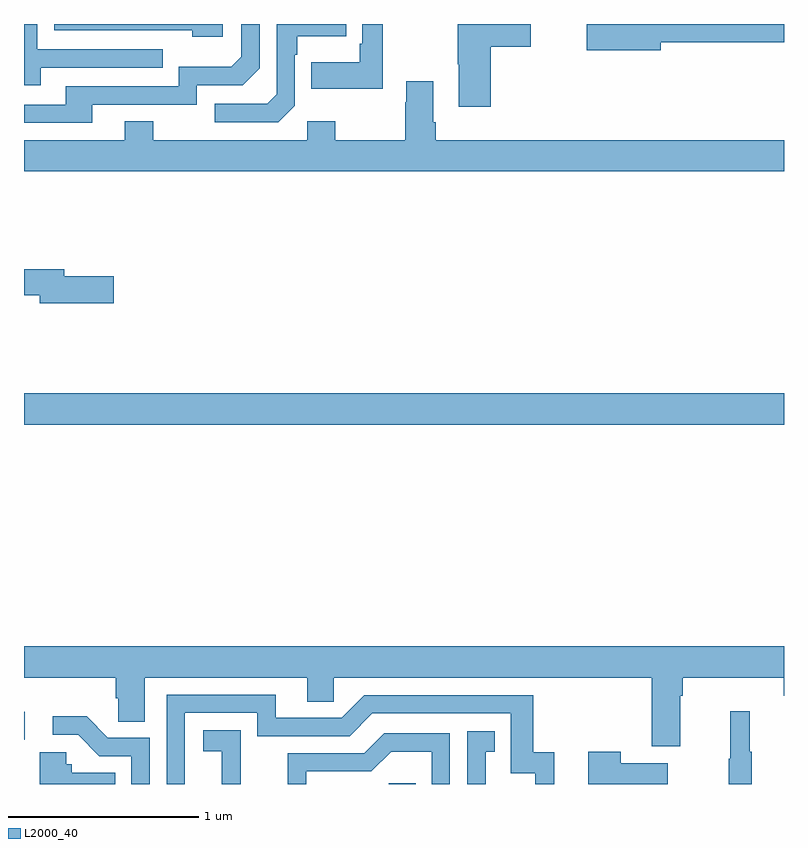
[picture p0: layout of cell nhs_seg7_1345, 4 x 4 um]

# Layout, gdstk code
import gdstk
lib = gdstk.Library(unit=1e-6, precision=1e-09)
def R(c, l, rs):  # rectangles x0, y0, x1, y1
    for r in rs: c.add(gdstk.rectangle(r[:2], r[2:], *l))
def P(c, l, *ps):  # polygons
    for p in ps: c.add(gdstk.Polygon(p, *l))
L2000_40 = (2000, 40)

nhs_seg7_1345 = lib.new_cell('nhs_seg7_1345')
R(nhs_seg7_1345, L2000_40, [(204.921,1056,205.061,1056.003), (203,1056.234,203.005,1056.379), (203,1057.892,207,1058.056)])
P(nhs_seg7_1345, L2000_40, [(206.35,1059.904),(207,1059.904),(207,1060),(205.962,1060),(205.962,1059.862),(206.35,1059.862)],
  [(204.046,1060),(203.16,1060),(203.16,1059.966),(203.885,1059.966),(203.885,1059.932),(204.046,1059.932)],
  [(204.426,1059.57),(204.426,1059.839),(204.439,1059.839),(204.439,1059.935),(204.695,1059.935),(204.695,1060),(204.33,1060),(204.33,1059.63),(204.279,1059.579),(204.003,1059.579),(204.003,1059.483),(204.339,1059.483)],
  [(203.359,1059.576),(203.91,1059.576),(203.91,1059.678),(204.15,1059.678),(204.24,1059.768),(204.24,1060),(204.144,1060),(204.144,1059.828),(204.091,1059.775),(203.814,1059.775),(203.814,1059.672),(203.219,1059.672),(203.219,1059.576),(203,1059.576),(203,1059.48),(203.359,1059.48)],
  [(205.457,1059.881),(205.666,1059.881),(205.666,1060),(205.282,1060),(205.282,1059.787),(205.289,1059.787),(205.289,1059.564),(205.457,1059.564)],
  [(204.889,1060),(204.78,1060),(204.78,1059.895),(204.768,1059.895),(204.768,1059.799),(204.511,1059.799),(204.511,1059.659),(204.889,1059.659)],
  [(203.089,1059.771),(203.729,1059.771),(203.729,1059.867),(203.07,1059.867),(203.07,1060),(203,1060),(203,1059.677),(203.089,1059.677)],
  [(207,1059.388),(205.166,1059.388),(205.166,1059.484),(205.153,1059.484),(205.153,1059.7),(205.013,1059.7),(205.013,1059.587),(205.006,1059.587),(205.006,1059.388),(204.639,1059.388),(204.639,1059.487),(204.492,1059.487),(204.492,1059.388),(203.679,1059.388),(203.679,1059.487),(203.531,1059.487),(203.531,1059.388),(203,1059.388),(203,1059.224),(207,1059.224)],
  [(203.473,1058.672),(203.212,1058.672),(203.212,1058.708),(203,1058.708),(203,1058.572),(203.084,1058.572),(203.084,1058.53),(203.473,1058.53)],
  [(206.455,1056.464),(206.468,1056.464),(206.468,1056.56),(206.999,1056.56),(206.999,1056.464),(207,1056.464),(207,1056.724),(203,1056.724),(203,1056.56),(203.483,1056.56),(203.483,1056.451),(203.496,1056.451),(203.496,1056.328),(203.635,1056.328),(203.635,1056.56),(204.491,1056.56),(204.491,1056.433),(204.63,1056.433),(204.63,1056.56),(206.303,1056.56),(206.303,1056.198),(206.455,1056.198)],
  [(203.847,1056.375),(204.228,1056.375),(204.228,1056.252),(204.714,1056.252),(204.834,1056.372),(205.563,1056.372),(205.563,1056.057),(205.692,1056.057),(205.692,1056),(205.79,1056),(205.79,1056.166),(205.679,1056.166),(205.679,1056.468),(204.792,1056.468),(204.672,1056.348),(204.325,1056.348),(204.325,1056.471),(203.751,1056.471),(203.751,1056),(203.847,1056)],
  [(206.83,1056.169),(206.819,1056.169),(206.819,1056.382),(206.716,1056.382),(206.716,1056.132),(206.709,1056.132),(206.709,1056),(206.83,1056)],
  [(203.661,1056.243),(203.442,1056.243),(203.329,1056.356),(203.151,1056.356),(203.151,1056.258),(203.285,1056.258),(203.396,1056.147),(203.565,1056.147),(203.565,1056),(203.661,1056)],
  [(204.14,1056.077),(204.141,1056.077),(204.141,1056.283),(203.943,1056.283),(203.943,1056.173),(204.041,1056.173),(204.041,1056),(204.14,1056)],
  [(205.429,1056.171),(205.478,1056.171),(205.478,1056.277),(205.332,1056.277),(205.332,1056),(205.429,1056)],
  [(204.486,1056.066),(204.828,1056.066),(204.932,1056.17),(205.146,1056.17),(205.146,1056),(205.242,1056),(205.242,1056.267),(204.896,1056.267),(204.791,1056.162),(204.388,1056.162),(204.388,1056),(204.486,1056)],
  [(206.389,1056.109),(206.141,1056.109),(206.141,1056.169),(205.97,1056.169),(205.97,1056),(206.389,1056)],
  [(203.48,1056.058),(203.25,1056.058),(203.25,1056.105),(203.223,1056.105),(203.223,1056.166),(203.084,1056.166),(203.084,1056),(203.48,1056)])

lib.write_gds('nhs_seg7_1345.gds')
